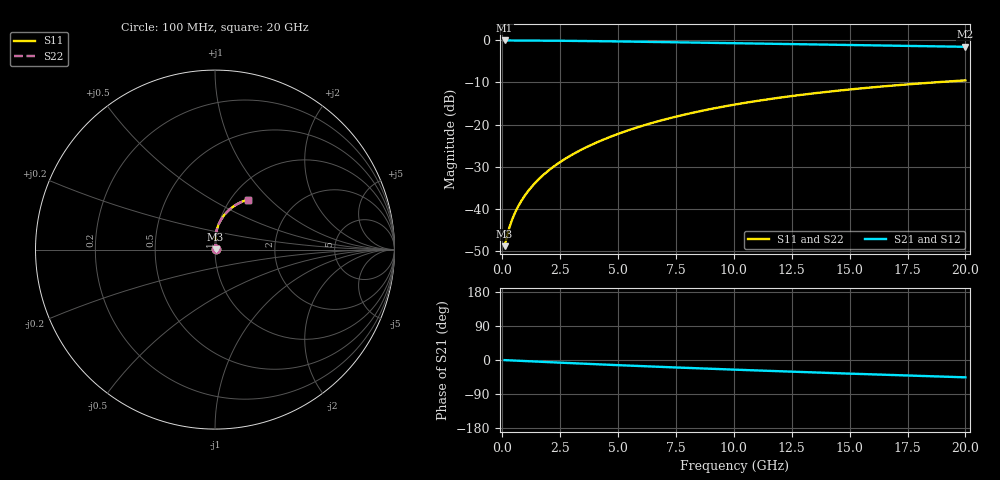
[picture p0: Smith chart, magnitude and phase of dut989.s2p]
! Touchstone file exported from HFSS 2024.1.0
!  File:  C:/UserFiles/LocalFiles/RDL_TSV_Batchsim/temp_RDL_bottom_989_1779943841.aedt
!  Generated:  12:52:59 PM May 28, 2026
!  Design:  RDL_bottom
!  Project:  temp_RDL_bottom_989_1779943841
!  Setup:  Setup1
!  Solution:  Sweep
! Variables:
!  dtsv = 10.80580581um
!  hbump = 3um
!  htsv = 71.43um
!  ldown = 692.96um
!  lrdl = 100um
!  p = 40
!  p1 = 48.5um
!  rhole = 1um
!  t = 450um
!  tdown = 3.15um
!  trdl = 3.915915916um
!  wdown = 26.84um
!  wrdl = 20um
# GHz S MA R 50.000000
! Terminal data exported
! Port[1] = RDL1_T1
! Port[2] = RDL1_T2
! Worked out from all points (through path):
!   200 points, 100 MHz to 20 GHz, reference 50 ohm
!   highest |S21| = -0.03 dB at 100 MHz (marker M1); lowest = -1.5 dB at 20 GHz (marker M2)
!   group delay of S21, straight-line fit = 6.27 ps
!   lowest |S11| = -48.9 dB at 100 MHz (marker M3), VSWR 1.01, Z = 50.3 + j0.17 ohm
!   |S11| at or under -10 dB: start of sweep to 18.64 GHz
!   |S22| runs from -48.9 to -9.5 dB; largest |S21 - S12| = 4.7e-14
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0.1  0.003591 28.0  0.9968 -0.3  0.9968 -0.3  0.003592 28.0
! Gamma 0 0 0 0
! Port Impedance 50 0 50 0
0.2  0.004688 44.0  0.9966 -0.6  0.9966 -0.6  0.004688 44.0
0.3  0.005908 52.8  0.9963 -0.9  0.9963 -0.9  0.005908 52.8
0.4  0.007129 58.4  0.996 -1.2  0.996 -1.2  0.00713 58.4
0.5  0.008349 62.6  0.9958 -1.5  0.9958 -1.5  0.008349 62.6
0.6  0.009577 66.0  0.9956 -1.7  0.9956 -1.7  0.009577 66.0
0.8  0.01208 71.0  0.9951 -2.3  0.9951 -2.3  0.01208 70.9
1  0.01467 74.5  0.9946 -2.9  0.9946 -2.9  0.01467 74.5
1.2  0.01732 77.1  0.994 -3.4  0.994 -3.4  0.01732 77.1
1.7  0.02419 81.5  0.9923 -4.8  0.9923 -4.8  0.02419 81.4
2.2  0.0314 84.0  0.9901 -6.2  0.9901 -6.2  0.0314 84.0
2.8  0.04047 85.8  0.9868 -7.8  0.9868 -7.8  0.04046 85.8
3.5  0.05162 86.9  0.9823 -9.7  0.9823 -9.7  0.05161 86.9
4.2  0.06336 87.3  0.9771 -11.6  0.9771 -11.6  0.06334 87.2
5  0.0774 87.0  0.9706 -13.6  0.9706 -13.6  0.07737 87.0
6.8  0.1108 84.8  0.9547 -18.1  0.9547 -18.1  0.1107 84.8
8.4  0.1414 81.8  0.9399 -21.8  0.9399 -21.8  0.1413 81.8
10.1  0.1738 78.2  0.9242 -25.6  0.9242 -25.6  0.1737 78.1
11.7  0.2035 74.5  0.9095 -29.1  0.9095 -29.1  0.2034 74.5
13.4  0.2338 70.6  0.8943 -32.7  0.8943 -32.7  0.2336 70.6
16.7  0.2878 63.2  0.8655 -39.4  0.8655 -39.4  0.2876 63.2
20  0.3347 56.3  0.838 -45.7  0.838 -45.7  0.3345 56.3
